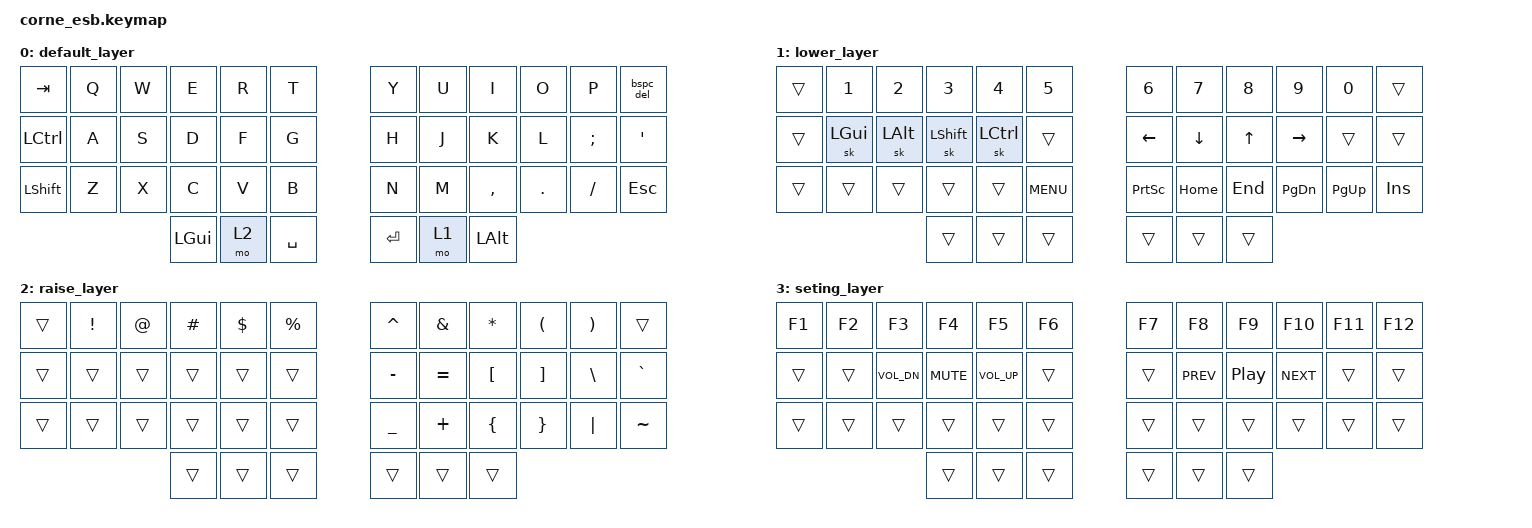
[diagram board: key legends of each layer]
/*
 * Copyright (c) 2020 The ZMK Contributors
 *
 * SPDX-License-Identifier: MIT
 */

#include <behaviors.dtsi>
#include <dt-bindings/zmk/keys.h>

/ {
    behaviors {
        bspc_del: bspc_del {
            compatible = "zmk,behavior-mod-morph";
            label = "BSPC_DEL";
            bindings = <&kp BACKSPACE>, <&kp DEL>;

            #binding-cells = <0>;
            mods = <(MOD_LSFT|MOD_RSFT)>;
        };
    };

    keymap {
        compatible = "zmk,keymap";

        default_layer {
            // -----------------------------------------------------------------------------------------
            // |  TAB |  Q  |  W  |  E  |  R  |  T  |   |  Y  |  U   |  I  |  O  |  P  | BSPC |
            // | CTRL |  A  |  S  |  D  |  F  |  G  |   |  H  |  J   |  K  |  L  |  ;  |  '   |
            // | SHFT |  Z  |  X  |  C  |  V  |  B  |   |  N  |  M   |  ,  |  .  |  /  | ESC  |
            //                    | GUI | LWR | SPC |   | ENT | RSE  | ALT |

            bindings = <
&kp TAB    &kp Q  &kp W  &kp E     &kp R  &kp T        &kp Y    &kp U  &kp I      &kp O    &kp P     &bspc_del
&kp LCTRL  &kp A  &kp S  &kp D     &kp F  &kp G        &kp H    &kp J  &kp K      &kp L    &kp SEMI  &kp SQT
&kp LSHFT  &kp Z  &kp X  &kp C     &kp V  &kp B        &kp N    &kp M  &kp COMMA  &kp DOT  &kp FSLH  &kp ESC
                         &kp LGUI  &mo 2  &kp SPACE    &kp RET  &mo 1  &kp LALT
            >;
        };

        lower_layer {
            // -----------------------------------------------------------------------------------------
            // |  TAB |  1  |  2  |  3  |  4  |  5  |   |  6  |  7  |  8  |  9  |  0  | BSPC |
            // | BTCLR| BT1 | BT2 | BT3 | BT4 | BT5 |   | LFT | DWN |  UP | RGT |     |      |
            // | SHFT |     |     |     |     |     |   |     |     |     |     |     |      |
            //                    | GUI |     | SPC |   | ENT |     | ALT |

            bindings = <
&trans  &kp N1        &kp N2        &kp N3          &kp N4            &kp N5        &kp N6           &kp N7    &kp N8   &kp N9         &kp N0       &trans
&trans  &sk LEFT_GUI  &sk LEFT_ALT  &sk LEFT_SHIFT  &sk LEFT_CONTROL  &trans        &kp LEFT         &kp DOWN  &kp UP   &kp RIGHT      &trans       &trans
&trans  &trans        &trans        &trans          &trans            &kp K_MENU    &kp PRINTSCREEN  &kp HOME  &kp END  &kp PAGE_DOWN  &kp PAGE_UP  &kp INSERT
                                    &trans          &trans            &trans        &trans           &trans    &trans
            >;
        };

        raise_layer {
            // -----------------------------------------------------------------------------------------
            // |  TAB |  !  |  @  |  #  |  $  |  %  |   |  ^  |  &  |  *  |  (  |  )  | BSPC |
            // | CTRL |     |     |     |     |     |   |  -  |  =  |  [  |  ]  |  \  |  `   |
            // | SHFT |     |     |     |     |     |   |  _  |  +  |  {  |  }  | "|" |  ~   |
            //                    | GUI |     | SPC |   | ENT |     | ALT |

            bindings = <
&trans  &kp EXCL  &kp AT  &kp HASH  &kp DLLR  &kp PRCNT    &kp CARET  &kp AMPS   &kp ASTRK  &kp LPAR  &kp RPAR  &trans
&trans  &trans    &trans  &trans    &trans    &trans       &kp MINUS  &kp EQUAL  &kp LBKT   &kp RBKT  &kp BSLH  &kp GRAVE
&trans  &trans    &trans  &trans    &trans    &trans       &kp UNDER  &kp PLUS   &kp LBRC   &kp RBRC  &kp PIPE  &kp TILDE
                          &trans    &trans    &trans       &trans     &trans     &trans
            >;
        };

        seting_layer {
            bindings = <
&kp F1  &kp F2  &kp F3        &kp F4      &kp F5        &kp F6    &kp F7  &kp F8      &kp F9            &kp F10     &kp F11  &kp F12
&trans  &trans  &kp C_VOL_DN  &kp C_MUTE  &kp C_VOL_UP  &trans    &trans  &kp C_PREV  &kp C_PLAY_PAUSE  &kp C_NEXT  &trans   &trans
&trans  &trans  &trans        &trans      &trans        &trans    &trans  &trans      &trans            &trans      &trans   &trans
                              &trans      &trans        &trans    &trans  &trans      &trans
            >;
        };
    };

    conditional_layers {
        compatible = "zmk,conditional-layers";

        seting_layer {
            if-layers = <1 2>;
            then-layer = <3>;
        };
    };
};
